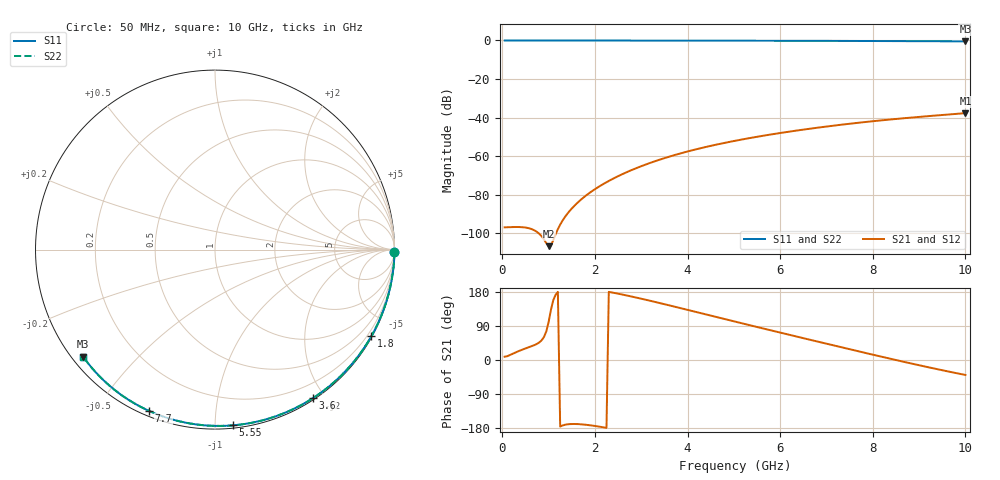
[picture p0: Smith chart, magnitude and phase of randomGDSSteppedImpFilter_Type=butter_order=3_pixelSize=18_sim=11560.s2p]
! freq	dB(S11)	phase(S11)	dB(S12)	phase(S12)
!  dB(S21)	phase(S21)	dB(S22)	phase(S22)
!S-par simulation data
#  GHz  S  DB  R 50
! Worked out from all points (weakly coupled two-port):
!   200 points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, 50 MHz to 10 GHz, reference 50 ohm
!   highest |S21| = -37.69 dB at 10 GHz (marker M1); lowest = -106.6 dB at 1 GHz (marker M2)
!   lowest |S11| = -0.5 dB at 10 GHz (marker M3), VSWR 36.28, Z = 1.55 - j17.7 ohm
!   |S11| at or under -10 dB: nowhere
!   |S22| runs from -0.5 to 0.0 dB; largest |S21 - S12| = 0
!   S11 on the Smith chart (normalised r, x): 50 MHz: open; 1.8 GHz: 0.03, -3.88; 3.6 GHz: 0.02, -1.86; 5.55 GHz: 0.02, -1.11; 7.7 GHz: 0.02, -0.67; 10 GHz: 0.03, -0.35
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0.05  -0.00 -0.8  -96.88 8.7  -96.88 8.7  -0.00 -0.8
0.5  -0.01 -8.2  -96.97 30.4  -96.97 30.4  -0.01 -8.2
1  -0.02 -16.2  -106.64 100.0  -106.64 100.0  -0.02 -16.2
1.75  -0.04 -28.1  -81.48 -170.2  -81.48 -170.2  -0.04 -28.2
1.8  -0.04 -28.9  -80.52 -170.8  -80.52 -170.8  -0.04 -28.9
1.85  -0.04 -29.7  -79.62 -171.5  -79.62 -171.5  -0.04 -29.7
2.05  -0.04 -32.9  -76.32 -174.9  -76.32 -174.9  -0.04 -32.9
2.2  -0.04 -35.2  -74.16 -178.0  -74.16 -178.0  -0.04 -35.2
2.55  -0.05 -40.6  -69.77 173.8  -69.77 173.8  -0.05 -40.6
2.95  -0.06 -46.7  -65.64 163.2  -65.64 163.2  -0.06 -46.7
3.4  -0.07 -53.5  -61.78 150.3  -61.78 150.3  -0.07 -53.5
3.6  -0.08 -56.5  -60.27 144.4  -60.27 144.4  -0.08 -56.5
3.9  -0.08 -60.9  -58.20 135.4  -58.20 135.4  -0.08 -60.9
4.3  -0.09 -66.7  -55.75 123.2  -55.75 123.2  -0.09 -66.7
5.05  -0.12 -77.3  -51.90 100.6  -51.90 100.6  -0.12 -77.3
5.55  -0.14 -84.2  -49.73 85.6  -49.73 85.6  -0.14 -84.2
6.1  -0.16 -91.6  -47.61 69.4  -47.61 69.4  -0.16 -91.6
6.7  -0.19 -99.5  -45.55 51.8  -45.55 51.8  -0.19 -99.5
7.7  -0.26 -112.3  -42.63 22.7  -42.63 22.7  -0.26 -112.3
8.35  -0.31 -120.5  -41.03 4.1  -41.03 4.1  -0.31 -120.5
9.2  -0.39 -131.0  -39.23 -19.2  -39.23 -19.2  -0.39 -131.0
10  -0.48 -140.9  -37.69 -39.5  -37.69 -39.5  -0.48 -140.9
